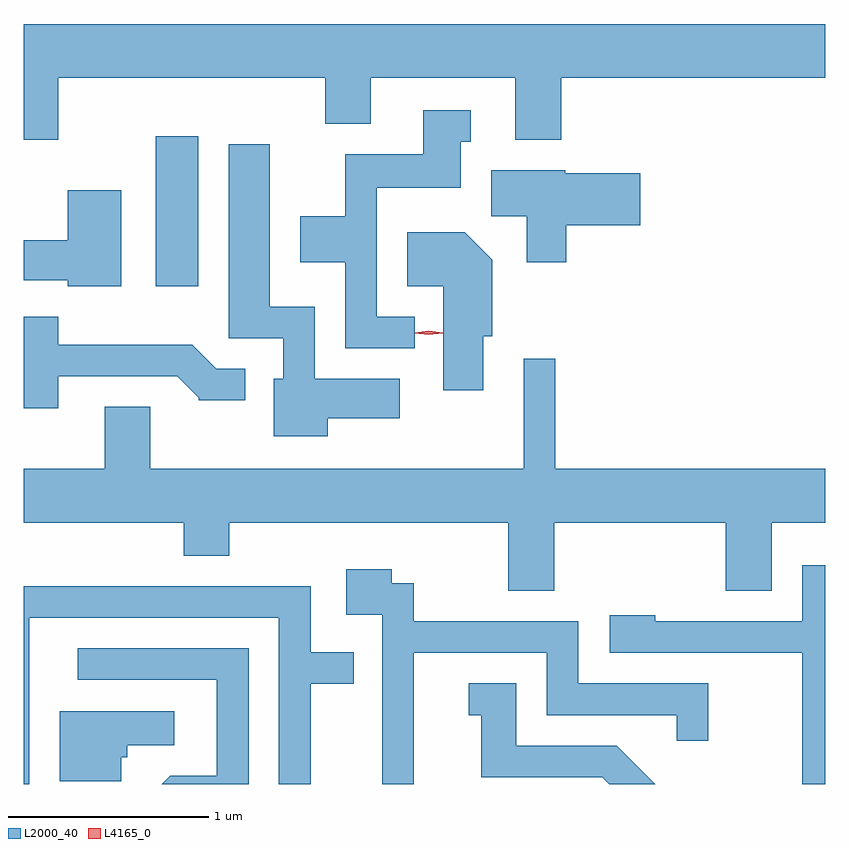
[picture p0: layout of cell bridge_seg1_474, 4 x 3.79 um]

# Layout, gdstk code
import gdstk
lib = gdstk.Library(unit=1e-6, precision=1e-09)
def R(c, l, rs):  # rectangles x0, y0, x1, y1
    for r in rs: c.add(gdstk.rectangle(r[:2], r[2:], *l))
def P(c, l, *ps):  # polygons
    for p in ps: c.add(gdstk.Polygon(p, *l))
L2000_40 = (2000, 40)
L4165_0 = (4165, 0)

bridge_seg1_474 = lib.new_cell('bridge_seg1_474')
R(bridge_seg1_474, L2000_40, [(470.596,871.896,470.809,872.644)])
P(bridge_seg1_474, L2000_40, [(470.109,872.936),(471.441,872.936),(471.441,872.706),(471.669,872.706),(471.669,872.936),(472.391,872.936),(472.391,872.626),(472.619,872.626),(472.619,872.936),(473.937,872.936),(473.937,873.204),(469.937,873.204),(469.937,872.626),(470.109,872.626)],
  [(471.888,871.744),(471.699,871.744),(471.699,872.386),(472.119,872.386),(472.119,872.616),(472.168,872.616),(472.168,872.774),(471.931,872.774),(471.931,872.554),(471.541,872.554),(471.541,872.244),(471.316,872.244),(471.316,872.016),(471.541,872.016),(471.541,871.586),(471.888,871.586)],
  [(471.454,871.236),(471.814,871.236),(471.814,871.434),(471.389,871.434),(471.389,871.794),(471.164,871.794),(471.164,872.604),(470.961,872.604),(470.961,871.636),(471.231,871.636),(471.231,871.434),(471.186,871.434),(471.186,871.146),(471.454,871.146)],
  [(472.644,872.201),(473.014,872.201),(473.014,872.459),(472.64,872.459),(472.64,872.474),(472.271,872.474),(472.271,872.246),(472.446,872.246),(472.446,872.016),(472.644,872.016)],
  [(470.424,872.374),(470.156,872.374),(470.156,872.124),(469.937,872.124),(469.937,871.926),(470.156,871.926),(470.156,871.896),(470.424,871.896)],
  [(472.229,871.646),(472.274,871.646),(472.274,872.027),(472.137,872.164),(471.851,872.164),(471.851,871.896),(472.031,871.896),(472.031,871.376),(472.229,871.376)],
  [(470.109,871.446),(470.704,871.446),(470.81,871.34),(470.81,871.326),(471.043,871.326),(471.043,871.484),(470.897,871.484),(470.777,871.604),(470.109,871.604),(470.109,871.744),(469.937,871.744),(469.937,871.286),(470.109,871.286)],
  [(472.584,870.716),(473.441,870.716),(473.441,870.376),(473.669,870.376),(473.669,870.716),(473.937,870.716),(473.937,870.984),(472.589,870.984),(472.589,871.533),(472.431,871.533),(472.431,870.984),(470.569,870.984),(470.569,871.294),(470.341,871.294),(470.341,870.984),(469.937,870.984),(469.937,870.716),(470.736,870.716),(470.736,870.551),(470.964,870.551),(470.964,870.716),(472.356,870.716),(472.356,870.376),(472.584,870.376)],
  [(473.937,870.504),(473.821,870.504),(473.821,870.224),(473.089,870.224),(473.089,870.254),(472.861,870.254),(472.861,870.066),(473.821,870.066),(473.821,869.412),(473.937,869.412)],
  [(471.884,870.066),(472.546,870.066),(472.546,869.756),(473.196,869.756),(473.196,869.628),(473.354,869.628),(473.354,869.914),(472.704,869.914),(472.704,870.224),(471.884,870.224),(471.884,870.414),(471.774,870.414),(471.774,870.484),(471.546,870.484),(471.546,870.256),(471.726,870.256),(471.726,869.412),(471.884,869.412)],
  [(469.964,870.241),(471.211,870.241),(471.211,869.412),(471.369,869.412),(471.369,869.911),(471.583,869.911),(471.583,870.069),(471.369,870.069),(471.369,870.399),(469.937,870.399),(469.937,869.412),(469.964,869.412)],
  [(471.059,870.089),(470.208,870.089),(470.208,869.931),(470.901,869.931),(470.901,869.454),(470.669,869.454),(470.627,869.412),(471.059,869.412)],
  [(472.897,869.604),(472.394,869.604),(472.394,869.914),(472.158,869.914),(472.158,869.756),(472.221,869.756),(472.221,869.446),(472.824,869.446),(472.858,869.412),(473.089,869.412)],
  [(470.424,869.546),(470.454,869.546),(470.454,869.606),(470.688,869.606),(470.688,869.774),(470.116,869.774),(470.116,869.426),(470.424,869.426)])
P(bridge_seg1_474, L4165_0, [(471.958,871.654),(471.892,871.663),(471.892,871.664),(471.892,871.664),(471.958,871.674),(472.025,871.664),(472.025,871.664),(472.025,871.663)],
  [(471.958,871.653),(471.889,871.662),(471.888,871.663),(471.889,871.663),(471.958,871.673),(472.027,871.663),(472.028,871.663),(472.027,871.662)])

lib.write_gds('bridge_seg1_474.gds')
